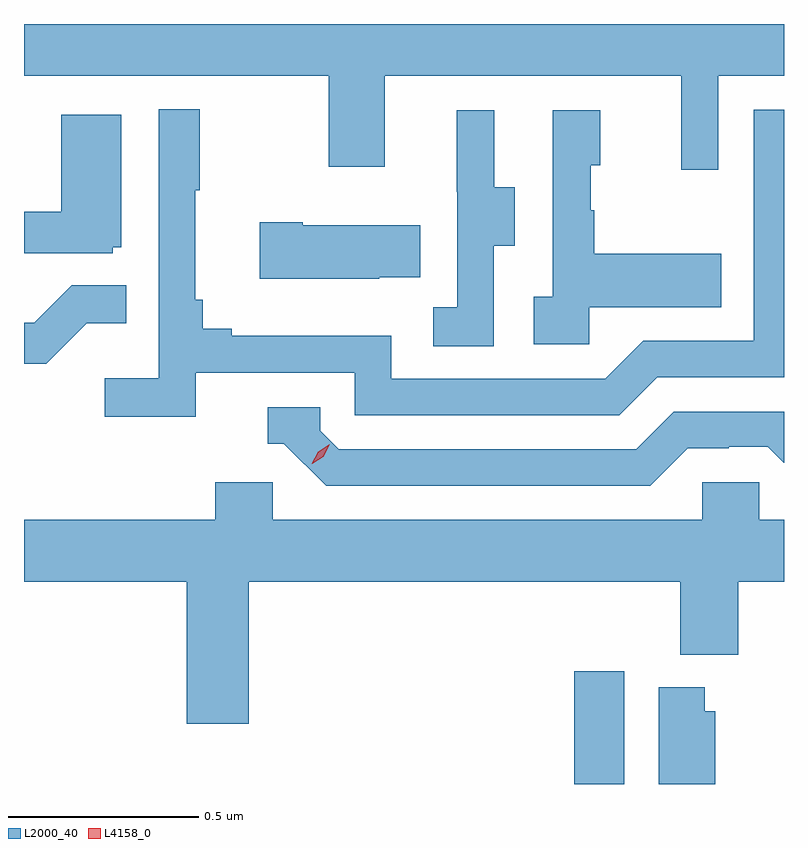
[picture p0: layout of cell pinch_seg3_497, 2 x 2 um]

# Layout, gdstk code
import gdstk
lib = gdstk.Library(unit=1e-6, precision=1e-09)
def R(c, l, rs):  # rectangles x0, y0, x1, y1
    for r in rs: c.add(gdstk.rectangle(r[:2], r[2:], *l))
def P(c, l, *ps):  # polygons
    for p in ps: c.add(gdstk.Polygon(p, *l))
L2000_40 = (2000, 40)
L4158_0 = (4158, 0)

pinch_seg3_497 = lib.new_cell('pinch_seg3_497')
R(pinch_seg3_497, L2000_40, [(1017.176,671.08,1017.307,671.377)])
P(pinch_seg3_497, L2000_40, [(1017.555,672.944),(1017.728,672.944),(1017.728,673.08),(1015.728,673.08),(1015.728,672.944),(1016.53,672.944),(1016.53,672.705),(1016.677,672.705),(1016.677,672.944),(1017.458,672.944),(1017.458,672.696),(1017.555,672.696)],
  [(1016.18,672.162),(1016.598,672.162),(1016.598,672.051),(1017.295,672.051),(1017.394,672.15),(1017.728,672.15),(1017.728,672.855),(1017.648,672.855),(1017.648,672.246),(1017.357,672.246),(1017.258,672.147),(1016.694,672.147),(1016.694,672.259),(1016.275,672.259),(1016.275,672.278),(1016.198,672.278),(1016.198,672.355),(1016.179,672.355),(1016.179,672.643),(1016.191,672.643),(1016.191,672.856),(1016.082,672.856),(1016.082,672.148),(1015.941,672.148),(1015.941,672.046),(1016.18,672.046)],
  [(1016.964,672.496),(1017.019,672.496),(1017.019,672.651),(1016.965,672.651),(1016.965,672.853),(1016.867,672.853),(1016.867,672.639),(1016.868,672.639),(1016.868,672.335),(1016.805,672.335),(1016.805,672.232),(1016.964,672.232)],
  [(1017.216,672.335),(1017.563,672.335),(1017.563,672.475),(1017.229,672.475),(1017.229,672.59),(1017.219,672.59),(1017.219,672.708),(1017.244,672.708),(1017.244,672.853),(1017.12,672.853),(1017.12,672.362),(1017.069,672.362),(1017.069,672.237),(1017.216,672.237)],
  [(1015.962,672.492),(1015.984,672.492),(1015.984,672.841),(1015.826,672.841),(1015.826,672.586),(1015.728,672.586),(1015.728,672.477),(1015.962,672.477)],
  [(1016.663,672.413),(1016.771,672.413),(1016.771,672.55),(1016.461,672.55),(1016.461,672.558),(1016.349,672.558),(1016.349,672.41),(1016.663,672.41)],
  [(1015.893,672.293),(1015.997,672.293),(1015.997,672.392),(1015.853,672.392),(1015.755,672.294),(1015.728,672.294),(1015.728,672.186),(1015.786,672.186)],
  [(1017.475,671.964),(1017.582,671.964),(1017.582,671.967),(1017.685,671.967),(1017.727,671.925),(1017.728,671.925),(1017.728,672.059),(1017.727,672.06),(1017.438,672.06),(1017.339,671.961),(1016.556,671.961),(1016.508,672.009),(1016.508,672.072),(1016.369,672.072),(1016.369,671.976),(1016.412,671.976),(1016.523,671.865),(1017.376,671.865)],
  [(1016.32,671.612),(1017.455,671.612),(1017.455,671.42),(1017.607,671.42),(1017.607,671.612),(1017.728,671.612),(1017.728,671.776),(1017.663,671.776),(1017.663,671.874),(1017.513,671.874),(1017.513,671.776),(1016.382,671.776),(1016.382,671.874),(1016.231,671.874),(1016.231,671.776),(1015.728,671.776),(1015.728,671.612),(1016.156,671.612),(1016.156,671.238),(1016.32,671.238)],
  [(1017.547,671.271),(1017.52,671.271),(1017.52,671.335),(1017.398,671.335),(1017.398,671.08),(1017.547,671.08)])
P(pinch_seg3_497, L4158_0, [(1016.485,671.923),(1016.485,671.923),(1016.502,671.955),(1016.533,671.974),(1016.533,671.974),(1016.533,671.974),(1016.516,671.941),(1016.486,671.923)])

lib.write_gds('pinch_seg3_497.gds')
